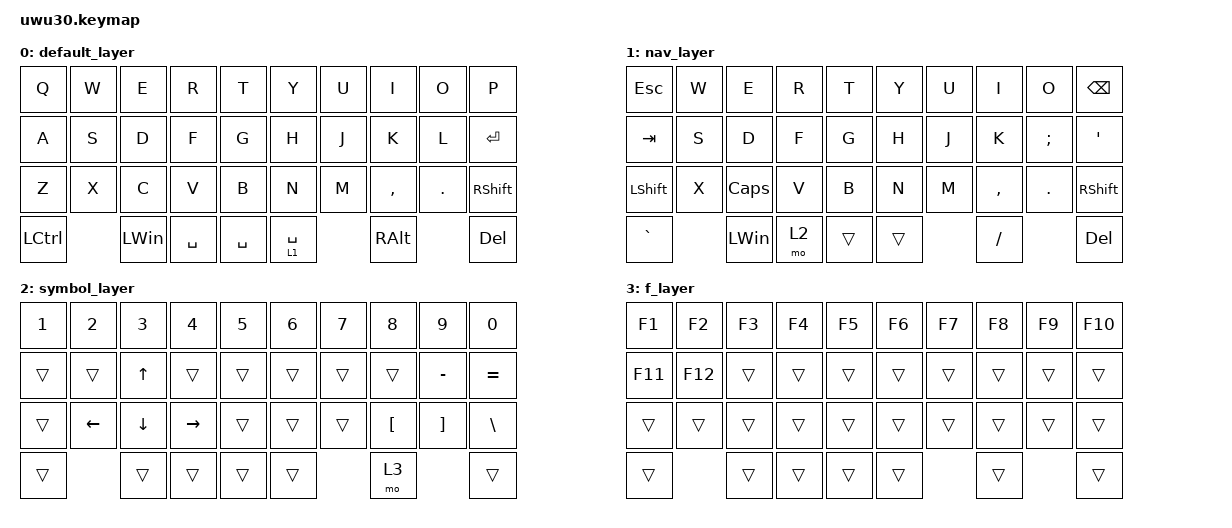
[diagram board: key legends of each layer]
/*
 * Copyright (c) 2023 The ZMK Contributors
 *
 * SPDX-License-Identifier: MIT
 */

#include <behaviors.dtsi>
#include <dt-bindings/zmk/keys.h>
#include <dt-bindings/zmk/bt.h>
#include <dt-bindings/zmk/outputs.h>

/ {
    combos {
        compatible = "zmk,combos";

        combo_mo1 {
            timeout-ms = <100>;
            key-positions = <1 2>;
            bindings = <&mo 1>;
        };

        combo_mo2 {
            timeout-ms = <100>;
            key-positions = <28 29>;
            bindings = <&mo 2>;
        };
    };
};

&mt {
    tapping-term-ms = <400>;
};

/ {
    keymap {
        compatible = "zmk,keymap";

        default_layer {
            bindings = <
    &kp Q           &kp W           &kp E           &kp R           &kp T           &kp Y           &kp U           &kp I           &kp O           &kp P
    &kp A           &kp S           &kp D           &kp F           &kp G           &kp H           &kp J           &kp K           &kp L           &kp ENTER
    &kp Z           &kp X           &kp C           &kp V           &kp B           &kp N           &kp M           &kp COMMA       &kp DOT         &kp RSHIFT
    &kp LCTRL                       &kp LWIN        &kp SPACE       &kp SPACE       &lt 1 SPACE                     &kp RALT                        &kp DEL

            >;
        };

        nav_layer {
            bindings = <
    &kp ESC         &kp W           &kp E           &kp R           &kp T           &kp Y           &kp U           &kp I           &kp O           &kp BSPC
    &kp TAB         &kp S           &kp D           &kp F           &kp G           &kp H           &kp J           &kp K           &kp SEMI        &kp SQT
    &kp LSHIFT      &kp X           &kp CAPSLOCK    &kp V           &kp B           &kp N           &kp M           &kp COMMA       &kp DOT         &kp RSHIFT
    &kp GRAVE                       &kp LWIN        &mo 2           &trans          &trans                          &kp SLASH                       &kp DEL
            >;
        };

        symbol_layer {
            bindings = <
    &kp N1          &kp N2          &kp N3          &kp N4          &kp N5          &kp N6          &kp N7          &kp N8          &kp N9          &kp N0
    &trans          &trans          &kp UP          &trans          &trans          &trans          &trans          &trans          &kp MINUS       &kp EQUAL
    &trans          &kp LEFT        &kp DOWN        &kp RIGHT       &trans          &trans          &trans          &kp LBKT        &kp RBKT        &kp BACKSLASH
    &trans                          &trans          &trans          &trans          &trans                          &mo 3                           &trans
            >;
        };

        f_layer {
            bindings = <
    &kp F1          &kp F2          &kp F3          &kp F4          &kp F5          &kp F6          &kp F7          &kp F8          &kp F9          &kp F10
    &kp F11         &kp F12         &trans          &trans          &trans          &trans          &trans          &trans          &trans          &trans
    &trans          &trans          &trans          &trans          &trans          &trans          &trans          &trans          &trans          &trans
    &trans                          &trans          &trans          &trans          &trans                          &trans                          &trans
            >;
        };
    };
};
